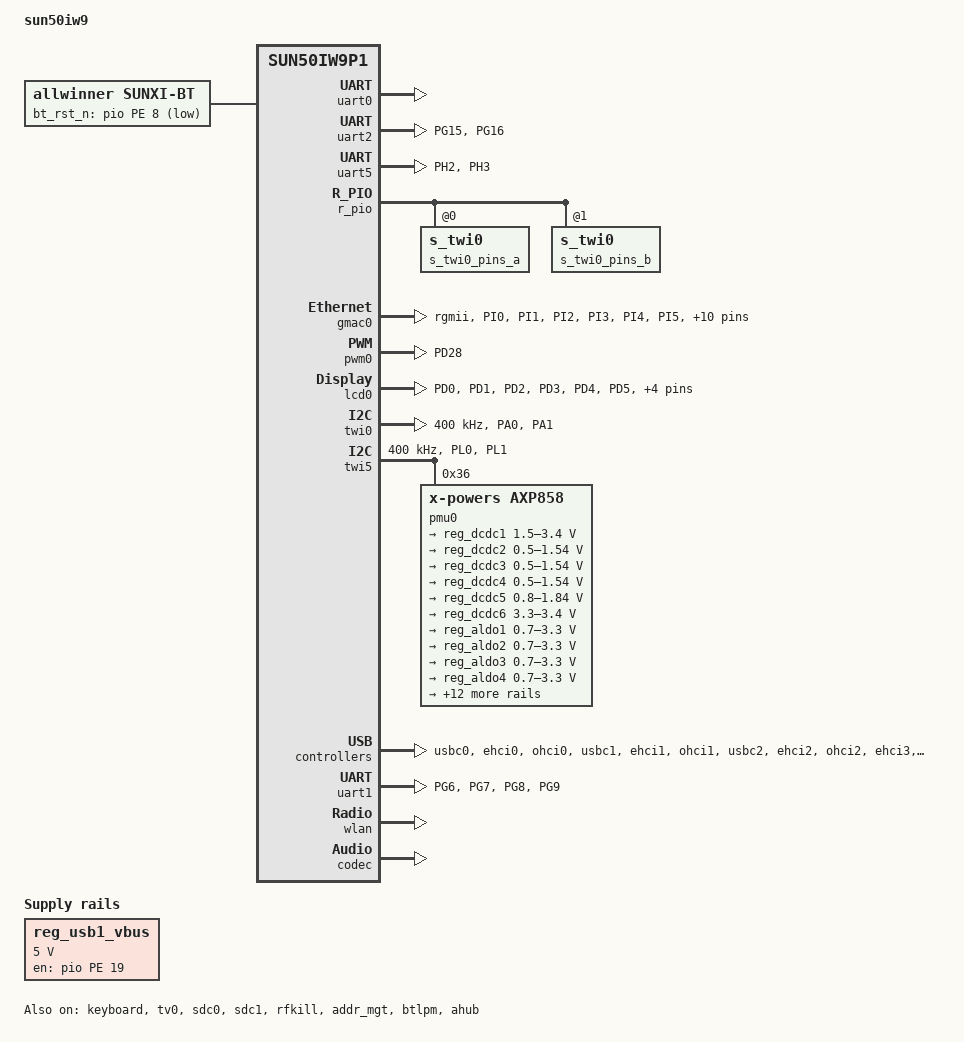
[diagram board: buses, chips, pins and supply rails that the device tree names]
// SPDX-License-Identifier: (GPL-2.0+ or MIT)
/*
 * Copyright (C) 2020 frank@allwinnertech.com
 */

/dts-v1/;
#include <dt-bindings/gpio/sun4i-gpio.h>

#include "sun50iw9.dtsi"

/{
	model = "sun50iw9";
	compatible = "allwinner,t507", "arm,sun50iw9p1";

	aliases {
		serial0 = &uart0;
		disp = &disp;
		lcd0 = &lcd0;
		pmu0 = &pmu0;
		standby_param = &standby_param;
		hdmi = &hdmi;
		spi0 = &spi0;
		spi1 = &spi1;
		twi0 = &twi0;
		twi1 = &twi1;
		twi2 = &twi2;
		twi3 = &twi3;
		twi4 = &twi4;
		twi5 = &twi5;
	};


	reg_usb1_vbus: usb1-vbus {
		compatible = "regulator-fixed";
		gpio = <&pio PE 19 GPIO_ACTIVE_HIGH>;
		regulator-name = "usb1-vbus";
		regulator-min-microvolt = <5000000>;
		regulator-max-microvolt = <5000000>;
		regulator-enable-ramp-delay = <1000>;
		enable-active-high;
	};

       led: led {
	  pinctrl-names = "default";
          pinctrl-0 = <&led_pe_pins>;
          status = "okay";
        };
};

&cpu0 {
	cpu-supply = <&reg_dcdc2>;
};

&uart0 {
	pinctrl-names = "default", "sleep";
	pinctrl-0 = <&uart0_ph_pins>;
	pinctrl-1 = <&uart0_ph_sleep>;
	status = "okay";
};

&uart2 {
        pinctrl-names = "default", "sleep";
        pinctrl-0 = <&uart2_ph_pins>;
        pinctrl-1 = <&uart2_ph_sleep>;
        status = "okay";
};


&uart5 {
        pinctrl-names = "default", "sleep";
        pinctrl-0 = <&uart5_ph_pins>;
        pinctrl-1 = <&uart5_ph_sleep>;
        status = "okay";
};



&pio {
	sdc0_pins_a: sdc0@0 {
		allwinner,pins = "PF0", "PF1", "PF2",
				 "PF3", "PF4", "PF5";
		allwinner,function = "sdc0";
		allwinner,muxsel = <2>;
		allwinner,drive = <3>;
		allwinner,pull = <1>;
	};

	sdc2_pins_a: sdc2@0 {
		allwinner,pins = "PC1", "PC5", "PC6",
				 "PC8", "PC9", "PC10", "PC11",
				 "PC13", "PC14", "PC15", "PC16";
		allwinner,function = "sdc2";
		allwinner,muxsel = <3>;
		allwinner,drive = <3>;
		allwinner,pull = <1>;
	};

	sdc2_pins_c: sdc2@2 {
				allwinner,pins = "PC0";
				allwinner,function = "sdc2";
				allwinner,muxsel = <3>;
				allwinner,drive = <3>;
				allwinner,pull = <2>;
	};

	spi0_pins_a: spi0@0 {
		pins = "PC0", "PC2", "PC4", "PC15", "PC16";     /*CLK  MOSI  MISO WP  HOLD*/
		function = "spi0";
		muxsel = <4>;
		drive-strength = <10>;
	};

	spi0_pins_b: spi0@1 {
		pins = "PC3", "PC7";    /*CS0  CS1*/
		function = "spi0";
		muxsel = <4>;
		drive-strength = <10>;
		bias-pull-up;   /* only CS should be pulled up */
	};

	spi0_pins_c: spi0@2 {
		pins = "PC0", "PC2", "PC3", "PC4", "PC7", "PC15", "PC16";
		function = "gpio_in";
		muxsel = <0>;
		drive-strength = <10>;
	};

	spi1_pins_a: spi1@0 {
		pins = "PH6", "PH7", "PH8";     /*CLK  MOSI  MISO*/
		function = "spi1";
		muxsel = <4>;
		drive-strength = <10>;
	};

	spi1_pins_b: spi1@1 {
		pins = "PH5", "PH9";    /*CS0  CS1*/
		function = "spi1";
		muxsel = <4>;
		drive-strength = <10>;
		bias-pull-up;   /* only CS should be pulled up */
	};

	spi1_pins_c: spi1@2 {
		pins = "PH5", "PH6", "PH7", "PH8", "PH9";       /*CS0  CS1*/
		function = "gpio_in";
		muxsel = <0>;
		drive-strength = <10>;
	};

	gmac0_pins_a: gmac0@0 {
		pins = "PI0", "PI1", "PI2", "PI3",
			"PI4", "PI5", "PI7", "PI8",
			"PI9", "PI10", "PI11", "PI12",
			"PI13", "PI14", "PI15",
			"PI16";
		function = "emac0";
		drive-strength = <40>;
		bias-pull-up;
	};

	gmac0_pins_b: gmac0@1 {
		pins = "PI0", "PI1", "PI2", "PI3",
			"PI4", "PI5", "PI7",
			"PI8", "PI9", "PI10", "PI11",
			"PI12", "PI13", "PI14", "PI15",
			"PI16";
		function = "gpio_in";
		drive-strength = <40>;
	};

	gmac1_pins_a: gmac1@0 {
		pins = "PA0", "PA1", "PA2", "PA3",
			"PA4", "PA5", "PA6", "PA7",
			"PA8", "PA9";
		function = "gmac1";
		drive-strength = <10>;
		bias-pull-up;
	};

	gmac1_pins_b: gmac1@1 {
		pins = "PA0", "PA1", "PA2", "PA3",
			"PA4", "PA5", "PA6", "PA7",
			"PA8", "PA9";
		function = "gpio_in";
		drive-strength = <10>;
	};

	twi0_pins_a: twi0@0 {
		pins = "PA0", "PA1";
		function = "twi0";
		muxsel = <4>;
		drive-strength = <10>;
	};

	twi0_pins_b: twi0@1 {
		pins = "PA0", "PA1";
		function = "gpio_in";
		muxsel = <0>;
	};

	twi1_pins_a: twi1@0 {
		pins = "PI7", "PI8";
		function = "twi1";
		muxsel = <5>;
		drive-strength = <10>;
		allwinner,pull = <1>;
	};

	twi1_pins_b: twi1@1 {
		pins = "PI7", "PI8";
		function = "gpio_in";
		muxsel = <0>;
	};

	twi2_pins_a: twi2@0 {
		pins = "PE20", "PE21";
		function = "twi2";
		muxsel = <5>;
		drive-strength = <10>;
		allwinner,pull = <1>;
	};

	twi2_pins_b: twi2@1 {
		pins = "PE20", "PE21";
		function = "gpio_in";
		muxsel = <0>;
	};

	twi3_pins_a: twi3@0 {
		pins = "PA10", "PA11";
		function = "twi3";
		muxsel = <2>;
		drive-strength = <10>;
		allwinner,pull = <1>;
	};

	twi3_pins_b: twi3@1 {
		pins = "PA10", "PA11";
		function = "gpio_in";
		muxsel = <0>;
	};

	twi4_pins_a: twi4@0 {
		pins = "PG15", "PG16";
		function = "twi4";
		muxsel = <5>;
		drive-strength = <10>;
	};

	twi4_pins_b: twi4@0 {
		pins = "PG15", "PG16";
		function = "gpio_in";
		muxsel = <0>;
	};


        led_pe_pins: led_pe_pins {
                pins = "PE3", "PE0","PE20";
                function = "gpio_out";
                muxsel = <0>;
        };

        

	pwm0_pin_a: pwm0@0 {
		pins = "PD28";
		function = "pwm0";
		muxsel = <2>;
		drive-strength = <10>;
		bias-pull-up;
	};

	pwm0_pin_b: pwm0@1 {
		pins = "PD28";
		muxsel = <7>;
		function = "gpio_in";
	};

	clk_losc_pins_a: clk_losc@0 {
		allwinner,pins = "PG10";
		allwinner,function = "x32kfout";
		allwinner,muxsel = <3>;
		allwinner,drive = <2>;
		allwinner,pull = <1>;
	};

	uart1_pg_pins: uart1-ph-pins {
		pins = "PG6", "PG7", "PG8", "PG9";
		function = "uart1";
	};

	uart1_pg_sleep: uart1-ph-sleep {
		pins = "PG6", "PG7", "PG8", "PG9";
		function = "gpio_in";
	};


        uart2_ph_pins: uart2-ph-pins {
                pins = "PG15", "PG16";
                function = "uart2";
               };

        uart2_ph_sleep: uart2-ph-sleep {
                pins = "PG15", "PG16";
                function = "gpio_in";
             };

        uart5_ph_pins: uart5-ph-pins {
                pins = "PH2", "PH3";
                function = "uart5";
               };

        uart5_ph_sleep: uart5-ph-sleep {
                pins = "PH2", "PH3";
                function = "gpio_in";
             };



        spdif_pins_a: spdif@0 {
                pins = "PH4";   /* spdif out */
		function = "spdif";
		drive-strength = <20>;
		bias-disable;
        };

        spdif_pins_b: spdif_sleep@0 {
		pins = "PH4";
		function = "gpio_in";
                drive-strength = <20>;
                bias-disable;
	};

	ahub_daudio0_pins_a: ahub_daudio0@0 {
		pins = "PA6", "PA7", "PA8", "PA9";
		function = "i2s0";
		drive-strength = <20>;
		bias-disable;
	};

	ahub_daudio0_pins_b: ahub_daudio0_sleep@0 {
		pins = "PA6", "PA7", "PA8", "PA9";
		function = "gpio_in";
		drive-strength = <20>;
		bias-disable;
	};

	ahub_daudio2_pins_a: ahub_daudio2@0 {
		pins = "PG11", "PG12";
		function = "i2s2";
		drive-strength = <20>;
		bias-disable;
	};

	ahub_daudio2_pins_b: ahub_daudio2@1 {
		pins = "PG13";
		function = "i2s2_dout0";
		drive-strength = <20>;
		bias-disable;
	};

	ahub_daudio2_pins_c: ahub_daudio2@2 {
		pins = "PG14";
		function = "i2s2_din0";
		drive-strength = <20>;
		bias-disable;
	};

	ahub_daudio2_pins_d: ahub_daudio2_sleep@0 {
		pins = "PG11", "PG12", "PG13", "PG14";
		function = "gpio_in";
		drive-strength = <20>;
		bias-disable;
	};

	ahub_daudio3_pins_a: ahub_daudio3@0 {
		pins = "PH5", "PH6", "PH7";
		function = "i2s3";
		drive-strength = <20>;
		bias-disable;
	};

	ahub_daudio3_pins_b: ahub_daudio3@1 {
		pins = "PH8";
		function = "i2s3_dout0";
		drive-strength = <20>;
		bias-disable;
	};

	ahub_daudio3_pins_c: ahub_daudio3@2 {
		pins = "PH9";
		function = "i2s3_din0";
		drive-strength = <20>;
		bias-disable;
	};

	ahub_daudio3_pins_d: ahub_daudio3_sleep@0 {
		pins = "PH5", "PH6", "PH7", "PH8", "PH9";
		function = "gpio_in";
		drive-strength = <20>;
		bias-disable;
	};
};

&r_pio {
	s_twi0_pins_a: s_twi0@0 {
		pins = "PL0", "PL1";
		function = "s_twi0";
		drive-strength = <10>;
		muxsel = <3>;
		bias-pull-up;
	};

	s_twi0_pins_b: s_twi0@1 {
		pins = "PL0", "PL1";
		function = "gpio_in";
		muxsel = <0>;
	};
};

&cpu_trips{
	cpu_crit: cpu_crit@0 {
		temperature = <120000>;
		type = "critical";
		hysteresis = <0>;
	};
};

&gmac0 {
	phy-mode = "rgmii";
	pinctrl-names = "default", "sleep";
	pinctrl-0 = <&gmac0_pins_a>;
	pinctrl-1 = <&gmac0_pins_b>;
	sunxi,phy-clk-type = <0>;
	tx-delay = <7>;
	rx-delay = <0>;
	gmac-power0-supply = <&reg_cldo3>;
	gmac-power1-supply;
	gmac-power2-supply;
	/*gmac-power1-supply = <&reg_dcdc6>;*/
	gmac-power0-vol = <3300000>;
	gmac-power1-vol;
	gmac-power2-vol;
	status = "okay";
};

&soc {
	card0_boot_para@2 {
		/* Avoid dtc compiling warnings. */
		reg = <0x0 0x2 0x0 0x0>;
		device_type = "card0_boot_para";
		card_ctrl = <0x0>;
		card_high_speed = <0x1>;
		card_line = <0x4>;
		pinctrl-0 = <&sdc0_pins_a>;
	};

	card2_boot_para@3 {
		/* Avoid dtc compiling warnings. */
		reg = <0x0 0x3 0x0 0x0>;
		device_type = "card2_boot_para";
		card_ctrl = <0x2>;
		card_high_speed = <0x1>;
		card_line = <0x8>;
		pinctrl-0 = <&sdc2_pins_a &sdc2_pins_c>;
		sdc_ex_dly_used = <0x2>;
		sdc_io_1v8 = <0x0>;
		sdc_type = "tm4";
	};

	clk_pll_video2: pll_video2 {
		#clock-cells = <0>;
		compatible = "allwinner,pll-clock";
		lock-mode = "new";
		assigned-clocks = <&clk_pll_video2>;
		/*assigned-clock-rates = <432000000>;*/
		clock-output-names = "pll_video2";
	};

	clk_pll_de: pll_de {
		#clock-cells = <0>;
		compatible = "allwinner,pll-clock";
		assigned-clocks = <&clk_pll_de>;
		assigned-clock-rates = <696000000>;
		lock-mode = "new";
		clock-output-names = "pll_de";
	};

	clk_de: de {
		#clock-cells = <0>;
		compatible = "allwinner,periph-clock";
		assigned-clock-parents = <&clk_pll_de>;
		assigned-clock-rates = <696000000>;
		assigned-clocks = <&clk_de>;
		clock-output-names = "de";
	};

	clk_display_top: display_top {
		#clock-cells = <0>;
		compatible = "allwinner,periph-clock";
		clock-output-names = "display_top";
	};

	clk_tcon_lcd: tcon_lcd {
		#clock-cells = <0>;
		compatible = "allwinner,periph-clock";
		clock-output-names = "tcon_lcd";
	};

	clk_tcon_lcd1: tcon_lcd1 {
		#clock-cells = <0>;
		compatible = "allwinner,periph-clock";
		clock-output-names = "tcon_lcd1";
	};
	clk_tcon_tv: tcon_tv {
		#clock-cells = <0>;
		compatible = "allwinner,periph-clock";
		assigned-clock-parents = <&clk_pll_video2>;
		assigned-clocks = <&clk_tcon_tv>;
		clock-output-names = "tcon_tv";
	};
	clk_tcon_tv1: tcon_tv1 {
		#clock-cells = <0>;
		compatible = "allwinner,periph-clock";
		clock-output-names = "tcon_tv1";
	};
	clk_lvds: lvds {
		#clock-cells = <0>;
		compatible = "allwinner,periph-clock";
		clock-output-names = "lvds";
		assigned-clocks = <&clk_lvds>;
	};
	clk_hdmi: hdmi {
		#clock-cells = <0>;
		compatible = "allwinner,periph-clock";
		assigned-clock-parents = <&clk_pll_video2>;
		assigned-clocks = <&clk_hdmi>;
		clock-output-names = "hdmi";
	};
	clk_hdmi_slow: hdmi_slow {
		#clock-cells = <0>;
		compatible = "allwinner,periph-clock";
		assigned-clocks = <&clk_hdmi_slow>;
		clock-output-names = "hdmi_slow";
	};
	clk_hdmi_cec: hdmi_cec {
		#clock-cells = <0>;
		compatible = "allwinner,periph-clock";
		assigned-clocks = <&clk_hdmi_cec>;
		clock-output-names = "hdmi_cec";
	};
	clk_hdmi_hdcp: hdmi_hdcp {
		#clock-cells = <0>;
		compatible = "allwinner,periph-clock";
		assigned-clock-parents = <&clk_pll_periph1>;
		assigned-clocks = <&clk_hdmi_hdcp>;
		clock-output-names = "hdmi_hdcp";
	};
	clk_pll_periph1: pll_periph1 {
		#clock-cells = <0>;
		compatible = "allwinner,pll-clock";
		assigned-clocks = <&clk_pll_periph1>;
		assigned-clock-rates = <600000000>;
		lock-mode = "new";
		clock-output-names = "pll_periph1";
	};

	auto_print@54321 {
		reg = <0x0 0x54321 0x0 0x0>;
		device_type = "auto_print";
		status = "disabled";
	};

	vind0:vind@6600800 {
		csi_top = <324000000>;
		status = "okay";

		csi_cci0:cci@6614000 {
			status = "disabled";
		};
		csi_cci1:cci@6614400 {
			status = "disabled";
		};
		actuator0:actuator@6614890 {
			device_type = "actuator0";
			actuator0_name = "ad5820_act";
			actuator0_slave = <0x18>;
			actuator0_af_pwdn = <>;
			actuator0_afvdd = "afvcc-csi";
			actuator0_afvdd_vol = <2800000>;
			status = "disabled";
		};
		flash0:flash@66148a0 {
			device_type = "flash0";
			flash0_type = <2>;
			flash0_en = <>;
			flash0_mode = <>;
			flash0_flvdd = "";
			flash0_flvdd_vol = <>;
			device_id = <0>;
			status = "disabled";
		};
		vinc0:vinc@6609000 {
			vinc0_csi_sel = <0>;
			vinc0_mipi_sel = <0>;
			vinc0_isp_sel = <0>;
			vinc0_isp_tx_ch = <0>;
			vinc0_rear_sensor_sel = <0>;
			vinc0_front_sensor_sel = <0>;
			vinc0_sensor_list = <0>;
			status = "okay";
		};
		vinc1:vinc@6609200 {
			vinc1_csi_sel = <0>;
			vinc1_mipi_sel = <0>;
			vinc1_isp_sel = <0>;
			vinc1_isp_tx_ch = <1>;
			vinc1_rear_sensor_sel = <0>;
			vinc1_front_sensor_sel = <0>;
			vinc1_sensor_list = <0>;
			status = "okay";
		};
		vinc2:vinc@6609400 {
			vinc2_csi_sel = <1>;
			vinc2_mipi_sel = <0xff>;
			vinc2_isp_sel = <1>;
			vinc2_isp_tx_ch = <0>;
			vinc2_rear_sensor_sel = <1>;
			vinc2_front_sensor_sel = <1>;
			vinc2_sensor_list = <0>;
			status = "okay";
		};
		vinc3:vinc@6609600 {
			vinc3_csi_sel = <1>;
			vinc3_mipi_sel = <0xff>;
			vinc3_isp_sel = <1>;
			vinc3_isp_tx_ch = <1>;
			vinc3_rear_sensor_sel = <1>;
			vinc3_front_sensor_sel = <1>;
			vinc3_sensor_list = <0>;
			status = "okay";
		};
		vinc4:vinc@6609800 {
			vinc4_csi_sel = <1>;
			vinc4_mipi_sel = <0xff>;
			vinc4_isp_sel = <1>;
			vinc4_isp_tx_ch = <2>;
			vinc4_rear_sensor_sel = <1>;
			vinc4_front_sensor_sel = <1>;
			vinc4_sensor_list = <0>;
			status = "okay";
		};
		vinc5:vinc@6609A00 {
			vinc5_csi_sel = <1>;
			vinc5_mipi_sel = <0xff>;
			vinc5_isp_sel = <1>;
			vinc5_isp_tx_ch = <3>;
			vinc5_rear_sensor_sel = <1>;
			vinc5_front_sensor_sel = <1>;
			vinc5_sensor_list = <0>;
			status = "okay";
		};
	};

	/* audio dirver module -> external codec */
	td100_audio:td100_audio {
		#sound-dai-cells = <0>;
		compatible		= "Allwinnertech,td100_audio";
		status			= "disabled";
	};

	car_reverse:car-reverse {
		compatible  = "allwinner,sunxi-car-reverse";
		tvd_id  = <0x2>;
		screen_width = <1280>;
		screen_height = <800>;
		rotation = <0x0>;
		source = <0x1>;
		oview = <0x0>;
		oview_type = <0x4>;
		td104_used = <0x0>;
		reverse_pin = <&pio PI 15 6 0 1 0>;
		status      = "disabled";
	};
};

&keyboard {
	key_cnt = <5>;
	key0 = <212 115>;
	key1 = <409 114>;
	key2 = <592 139>;
	key3 = <745 28>;
	key4 = <882 172>;
	wakeup-source;
	status = "okay";
};

&pwm0 {
	pinctrl-names = "active", "sleep";
	pinctrl-0 = <&pwm0_pin_a>;
	pinctrl-1 = <&pwm0_pin_b>;
};

&gpadc {
	channel_num = <4>;
	channel_select = <1>;
	channel_data_select = <0>;
	channel_compare_select = <1>;
	channel_cld_select = <1>;
	channel_chd_select = <0>;
	channel0_compare_lowdata = <1700000>;
	channel0_compare_higdata = <1200000>;
	channel1_compare_lowdata = <460000>;
	channel1_compare_higdata = <1200000>;
	status = "disabled";
};

&spi0 {
	clock-frequency = <100000000>;
	pinctrl-names = "default", "sleep";
	pinctrl-0 = <&spi0_pins_a &spi0_pins_b>;
	pinctrl-1 = <&spi0_pins_c>;
	spi_slave_mode = <0>;
	status = "disabled";
};

&spi1 {
	clock-frequency = <100000000>;
	pinctrl-names = "default", "sleep";
	pinctrl-0 = <&spi1_pins_a &spi1_pins_b>;
	pinctrl-1 = <&spi1_pins_c>;
	spi_slave_mode = <0>;
	status = "disabled";
};

&drm {
	boot_disp = <0>;
	boot_fb0 = "";

	//connector0_output_type = <3>;
	//connector0_output_mode = "CEA-016-1920x1080";
	connector0_output_type = <1>;
	connector0_output_mode = "";

	connector1_output_type = <0>;
	connector1_output_mode = "";
};

&disp {
	disp_init_enable         = <1>;
	disp_mode                = <0>;

	screen0_output_type      = <1>;
	screen0_output_mode      = <4>;
	screen0_output_format    = <0>;
	screen0_output_bits      = <0>;
	screen0_output_eotf      = <4>;
	screen0_output_cs        = <257>;
	screen0_output_dvi_hdmi  = <2>;
	screen0_output_range     = <2>;
	screen0_output_scan      = <0>;
	screen0_output_aspect_ratio = <8>;

	screen1_output_type      = <1>;
	screen1_output_mode      = <4>;
	screen1_output_format    = <1>;
	screen1_output_bits      = <0>;
	screen1_output_eotf      = <4>;
	screen1_output_cs        = <257>;
	screen1_output_dvi_hdmi  = <2>;
	screen1_output_range     = <2>;
	screen1_output_scan      = <0>;
	screen1_output_aspect_ratio = <8>;
	dev0_output_type         = <1>;
	dev0_output_mode         = <4>;
	dev0_screen_id           = <0>;
	dev0_do_hpd              = <0>;

	dev1_output_type         = <1>;
	dev1_output_mode         = <4>;
	dev1_screen_id           = <1>;
	dev1_do_hpd              = <1>;

	def_output_dev           = <0>;
	hdmi_mode_check          = <1>;

	fb0_format               = <0>;
	fb0_width                = <1280>;
	fb0_height               = <800>;

	fb1_format               = <0>;
	fb1_width                = <0>;
	fb1_height               = <0>;

	chn_cfg_mode             = <1>;

	disp_para_zone           = <1>;

	/* VCC-LVDS and VCC-HDMI */
	bldo1-supply = <&reg_bldo1>;
	/* VCC-TV */
	cldo4-supply = <&reg_cldo4>;
};

&hdmi {
	hdmi_used = <1>;
	bldo1-supply = <&reg_bldo1>;
	hdmi_power0 = "bldo1";
	hdmi_power_cnt = <1>;
	hdmi_hdcp_enable = <1>;
	hdmi_hdcp22_enable = <1>;
	hdmi_cts_compatibility = <0>;
	hdmi_cec_support = <1>;
	hdmi_cec_super_standby = <0>;
	hdmi_skip_bootedid = <1>;

	ddc_en_io_ctrl = <0>;
	power_io_ctrl = <0>;
};

&tv0 {
	interface       = <1>;
	dac_type0       = <0>;
	dac_src0        = <0>;
	cldo4-supply    = <&reg_cldo4>;
	tv_power        = "cldo4";
	status =  "okay";
};

&lcd0 {
	lcd_used            	= <1>;

	lcd_driver_name     	= "bp101wx1";
	lcd_backlight       	= <0>;
	lcd_if              	= <3>;

	lcd_x               	= <800>;
	lcd_y               	= <1280>;
	lcd_width           	= <94>;
	lcd_height          	= <150>;
	lcd_dclk_freq       	= <72>;

	lcd_pwm_used        	= <1>;
	lcd_pwm_ch          	= <0>;
	lcd_pwm_freq        	= <50000>;
	lcd_pwm_pol         	= <1>;
	lcd_pwm_max_limit   	= <255>;

	lcd_hbp             	= <48>;
	lcd_ht              	= <920>;
	lcd_hspw            	= <24>;
	lcd_vbp             	= <12>;
	lcd_vt              	= <1304>;
	lcd_vspw            	= <2>;

	lcd_lvds_if         	= <0>;
	lcd_lvds_colordepth 	= <0>;
	lcd_lvds_clk_polarity	= <1>;
	lcd_lvds_io_polarity	= <1>;
	lcd_lvds_mode       	= <0>;
	lcd_frm             	= <0>;
	lcd_hv_clk_phase    	= <0>;
	lcd_hv_sync_polarity	= <0>;
	lcd_gamma_en        	= <0>;
	lcd_bright_curve_en 	= <0>;
	lcd_cmap_en         	= <0>;
	lcd_fsync_en        	= <0>;
	lcd_fsync_act_time  	= <1000>;
	lcd_fsync_dis_time  	= <1000>;
	lcd_fsync_pol       	= <0>;

	deu_mode            	= <0>;
	lcdgamma4iep        	= <22>;
	smart_color         	= <90>;

	lcd_pin_power = "<&reg_dcdc6>";

	lcd_power = <&reg_dcdc6>;
	pinctrl-0 = <&lvds0_pins_a>;
	pinctrl-1 = <&lvds0_pins_b>;

};

&pio{
	lvds0_pins_a: lvds0@0 {
		pins = "PD0", "PD1", "PD2", "PD3", "PD4", "PD5", "PD8", "PD9", "PD6", "PD7";
		function = "lvds0";
		drive-strength = <40>;
	};
	lvds0_pins_b: lvds0@1 {
		pins = "PD0", "PD1", "PD2", "PD3", "PD4", "PD5", "PD8", "PD9", "PD6", "PD7";
		function = "gpio_in";
	};

	rgb24_pins_a: rgb24@0 {
		pins = "PD0", "PD1", "PD2", "PD3", "PD4", "PD5", "PD6", "PD7", "PD8", "PD9", \
		"PD10", "PD11", "PD12", "PD13", "PD14", "PD15", "PD16", "PD17", "PD18", "PD19", \
		"PD20", "PD21", "PD22", "PD23", "PD24", "PD25", "PD26", "PD27";
		function = "lcd0";
		drive-strength = <40>;
	};

	rgb24_pins_b: rgb24@1 {
		pins = "PD0", "PD1", "PD2", "PD3", "PD4", "PD5", "PD6", "PD7", "PD8", "PD9", \
		"PD10", "PD11", "PD12", "PD13", "PD14", "PD15", "PD16", "PD17", "PD18", "PD19", \
		"PD20", "PD21", "PD22", "PD23", "PD24", "PD25", "PD26", "PD27";
		allwinner,pname = "PD0", "PD1", "PD2", "PD3", "PD4", "PD5", "PD6", "PD7", "PD8", "PD9", \
		"PD10", "PD11", "PD12", "PD13", "PD14", "PD15", "PD16", "PD17", "PD18", "PD19", \
		"PD20", "PD21", "PD22", "PD23", "PD24", "PD25", "PD26", "PD27";
		function = "gpio_in";
	};

};

&gpu {
	gpu_idle = <0>;
	dvfs_status = <1>;
	independent_power = <1>;
	operating-points = <
		/* KHz   uV */
		648000 960000
		600000 900000
		552000 900000
		504000 900000
		456000 900000
		420000 900000
	>;
	gpu-supply = <&reg_dcdc4>;
};

&twi0 {
	clock-frequency = <400000>;
	pinctrl-0 = <&twi0_pins_a>;
	pinctrl-1 = <&twi0_pins_b>;
	pinctrl-names = "default", "sleep";
	twi-supply = <&reg_dcdc1>;
	status = "okay";
	ctp {
		compatible = "allwinner,goodix";
		reg = <0x14>;
		device_type = "ctp";
		status = "disabled";
		ctp_twi_id = <0x0>;
		ctp_twi_addr = <0x5d>;
		ctp_screen_max_x = <0x500>;
		ctp_screen_max_y = <0x320>;
		ctp_revert_x_flag = <0x0>;
		ctp_revert_y_flag = <0x0>;
		ctp_exchange_x_y_flag = <0x0>;
		ctp_int_port = <&pio PA 4 GPIO_ACTIVE_LOW>;
		ctp_wakeup = <&pio PA 5 GPIO_ACTIVE_LOW>;
		ctp-supply = <&reg_dcdc1>;
		ctp_power_ldo_vol = <3300>;
	};
};

&twi1 {
	clock-frequency = <400000>;
	pinctrl-0 = <&twi1_pins_a>;
	pinctrl-1 = <&twi1_pins_b>;
	twi-supply = <&reg_cldo3>;
	pinctrl-names = "default", "sleep";
	twi_drv_used = <1>;
	status = "disabled";
};

&twi2 {
	clock-frequency = <400000>;
	pinctrl-0 = <&twi2_pins_a>;
	pinctrl-1 = <&twi2_pins_b>;
	twi-supply = <&reg_dcdc1>;
	pinctrl-names = "default", "sleep";
	status = "disabled";
};

&twi3 {
	clock-frequency = <400000>;
	pinctrl-0 = <&twi3_pins_a>;
	pinctrl-1 = <&twi3_pins_b>;
	pinctrl-names = "default", "sleep";
	twi-supply = <&reg_dcdc1>;
	status = "disabled";
	ac107: ac107@36 {
		#sound-dai-cells	= <0>;
		compatible		= "Allwinnertech,ac107_0";
		gpio-reset		= "null";
		reg			= <0x36>;
		status			= "disabled";
	};
};

&twi4 {
	clock-frequency = <400000>;
	pinctrl-0 = <&twi4_pins_a>;
	pinctrl-1 = <&twi4_pins_b>;
	twi-supply = <&reg_cldo2>;
	pinctrl-names = "default", "sleep";
	status = "disabled";
};

&twi5 {
	clock-frequency = <400000>;
	pinctrl-0 = <&s_twi0_pins_a>;
	pinctrl-1 = <&s_twi0_pins_b>;
	pinctrl-names = "default", "sleep";
	no_suspend = <1>;
	status = "okay";

	pmu0: pmu@36{
		compatible = "x-powers,axp858";
		reg = <0x36>;
		interrupt-parent = <&nmi_intc>;
		interrupts = <0 IRQ_TYPE_LEVEL_LOW>;
		interrupt-controller;
		#interrupt-cells = <1>;

		wakeup-source;

		powerkey0: powerkey@0{
			status = "okay";
			compatible = "x-powers,axp2101-pek";
			pmu_powkey_off_time = <6000>;
			pmu_powkey_off_func = <0>;
			pmu_powkey_off_en = <1>;
			pmu_powkey_long_time = <1500>;
			pmu_powkey_on_time = <1000>;
			wakeup_rising;
			wakeup_falling;
		};

		standby_param: standby_param {
			vcc-io = <0x1>;
			vdd-cpua = <0x2>;
			vdd-sys = <0x4>;
			vdd-res1 = <0x40>;
			vcc-pll = <0x80>;
		};

		regulator0: regulators{
			reg_dcdc1: dcdc1 {
				regulator-name = "axp858-dcdc1";
				regulator-min-microvolt = <1500000>;
				regulator-max-microvolt = <3400000>;
				regulator-step-delay-us = <25>;
				regulator-final-delay-us = <50>;
				regulator-always-on;
			};

			reg_dcdc2: dcdc2 {
				regulator-name = "axp858-dcdc2";
				regulator-min-microvolt = <500000>;
				regulator-max-microvolt = <1540000>;
				regulator-step-delay-us = <25>;
				regulator-final-delay-us = <50>;
				regulator-ramp-delay = <6001>;
				regulator-always-on;
			};

			reg_dcdc3: dcdc3 {
				regulator-name = "axp858-dcdc3";
				regulator-min-microvolt = <500000>;
				regulator-max-microvolt = <1540000>;
				regulator-step-delay-us = <25>;
				regulator-final-delay-us = <50>;
				regulator-always-on;
			};

			reg_dcdc4: dcdc4 {
				regulator-name = "axp858-dcdc4";
				regulator-min-microvolt = <500000>;
				regulator-max-microvolt = <1540000>;
				regulator-step-delay-us = <25>;
				regulator-final-delay-us = <50>;
				regulator-enable-ramp-delay = <1000>;
			};

			reg_dcdc5: dcdc5 {
				regulator-name = "axp858-dcdc5";
				regulator-min-microvolt = <800000>;
				regulator-max-microvolt = <1840000>;
				regulator-step-delay-us = <25>;
				regulator-final-delay-us = <50>;
				regulator-always-on;
			};

			reg_dcdc6: dcdc6 {
				regulator-name = "axp858-dcdc6";
				regulator-min-microvolt = <3300000>;
				regulator-max-microvolt = <3400000>;
				regulator-step-delay-us = <25>;
				regulator-final-delay-us = <50>;
				regulator-always-on;
			};

			reg_aldo1: aldo1 {
				regulator-name = "axp858-aldo1";
				regulator-min-microvolt = <700000>;
				regulator-max-microvolt = <3300000>;
				regulator-step-delay-us = <25>;
				regulator-final-delay-us = <50>;
				regulator-always-on;
			};

			reg_aldo2: aldo2 {
				regulator-name = "axp858-aldo2";
				regulator-min-microvolt = <700000>;
				regulator-max-microvolt = <3300000>;
				regulator-step-delay-us = <25>;
				regulator-final-delay-us = <50>;
				regulator-always-on;
			};

			reg_aldo3: aldo3 {
				regulator-name = "axp858-aldo3";
				regulator-min-microvolt = <700000>;
				regulator-max-microvolt = <3300000>;
				regulator-step-delay-us = <25>;
				regulator-final-delay-us = <50>;
			};

			reg_aldo4: aldo4 {
				regulator-name = "axp858-aldo4";
				regulator-min-microvolt = <700000>;
				regulator-max-microvolt = <3300000>;
				regulator-step-delay-us = <25>;
				regulator-final-delay-us = <50>;
				regulator-always-on;
			};

			reg_aldo5: aldo5 {
				regulator-name = "axp858-aldo5";
				regulator-min-microvolt = <1200000>;
				regulator-max-microvolt = <1200000>;
				regulator-step-delay-us = <25>;
				regulator-final-delay-us = <50>;
			};

			reg_bldo1: bldo1 {
				regulator-name = "axp858-bldo1";
				regulator-min-microvolt = <700000>;
				regulator-max-microvolt = <3300000>;
				regulator-step-delay-us = <25>;
				regulator-final-delay-us = <50>;
				regulator-always-on;
			};

			reg_bldo2: bldo2 {
				regulator-name = "axp858-bldo2";
				regulator-min-microvolt = <700000>;
				regulator-max-microvolt = <3300000>;
				regulator-step-delay-us = <25>;
				regulator-final-delay-us = <50>;
			};

			reg_bldo3: bldo3 {
				regulator-name = "axp858-bldo3";
				regulator-min-microvolt = <700000>;
				regulator-max-microvolt = <3300000>;
				regulator-step-delay-us = <25>;
				regulator-final-delay-us = <50>;
			};

			reg_bldo4: bldo4 {
				regulator-name = "axp858-bldo4";
				regulator-min-microvolt = <700000>;
				regulator-max-microvolt = <1800000>;
				regulator-step-delay-us = <25>;
				regulator-final-delay-us = <50>;
				regulator-always-on;
			};

			reg_bldo5: bldo5 {
				regulator-name = "axp858-bldo5";
				regulator-min-microvolt = <700000>;
				regulator-max-microvolt = <3300000>;
				regulator-step-delay-us = <25>;
				regulator-final-delay-us = <50>;
			};

			reg_cldo1: cldo1 {
				regulator-name = "axp858-cldo1";
				regulator-min-microvolt = <700000>;
				regulator-max-microvolt = <3300000>;
				regulator-step-delay-us = <25>;
				regulator-final-delay-us = <50>;
				regulator-always-on;
			};

			reg_cldo2: cldo2 {
				regulator-name = "axp858-cldo2";
				regulator-min-microvolt = <3300000>;
				regulator-max-microvolt = <3400000>;
				regulator-step-delay-us = <25>;
				regulator-final-delay-us = <50>;
				regulator-always-on;
			};

			reg_cldo3: cldo3 {
				regulator-name = "axp858-cldo3";
				regulator-min-microvolt = <700000>;
				regulator-max-microvolt = <3300000>;
				regulator-step-delay-us = <25>;
				regulator-final-delay-us = <50>;
				regulator-always-on;
			};

			reg_cldo4: cldo4 {
				regulator-name = "axp858-cldo4";
				regulator-min-microvolt = <700000>;
				regulator-max-microvolt = <4200000>;
				regulator-step-delay-us = <25>;
				regulator-final-delay-us = <50>;
			};

			reg_cpusldo: cpusldo {
				regulator-name = "axp858-cpusldo";
				regulator-min-microvolt = <700000>;
				regulator-max-microvolt = <1400000>;
				regulator-step-delay-us = <25>;
				regulator-final-delay-us = <50>;
			};

			reg_swout: swout {
				regulator-name = "axp858-swout";
			};
		};

		virtual-dcdc1 {
			compatible = "xpower-vregulator,dcdc1";
			dcdc1-supply = <&reg_dcdc1>;
		};

		virtual-dcdc2 {
			compatible = "xpower-vregulator,dcdc2";
			dcdc2-supply = <&reg_dcdc2>;
		};

		virtual-dcdc3 {
			compatible = "xpower-vregulator,dcdc3";
			dcdc3-supply = <&reg_dcdc3>;
		};

		virtual-dcdc4 {
			compatible = "xpower-vregulator,dcdc4";
			dcdc4-supply = <&reg_dcdc4>;
		};

		virtual-dcdc5 {
			compatible = "xpower-vregulator,dcdc5";
			dcdc5-supply = <&reg_dcdc5>;
		};

		virtual-dcdc6 {
			compatible = "xpower-vregulator,dcdc6";
			dcdc6-supply = <&reg_dcdc6>;
		};

		virtual-aldo1 {
			compatible = "xpower-vregulator,aldo1";
			aldo1-supply = <&reg_aldo1>;
		};

		virtual-aldo2 {
			compatible = "xpower-vregulator,aldo2";
			aldo2-supply = <&reg_aldo2>;
		};

		virtual-aldo3 {
			compatible = "xpower-vregulator,aldo3";
			aldo3-supply = <&reg_aldo3>;
		};

		virtual-aldo4 {
			compatible = "xpower-vregulator,aldo4";
			aldo4-supply = <&reg_aldo4>;
		};

		virtual-aldo5 {
			compatible = "xpower-vregulator,aldo5";
			aldo5-supply = <&reg_aldo5>;
		};

		virtual-bldo1 {
			compatible = "xpower-vregulator,bldo1";
			bldo1-supply = <&reg_bldo1>;
		};

		virtual-bldo2 {
			compatible = "xpower-vregulator,bldo2";
			bldo2-supply = <&reg_bldo2>;
		};

		virtual-bldo3 {
			compatible = "xpower-vregulator,bldo3";
			bldo3-supply = <&reg_bldo3>;
		};

		virtual-bldo4 {
			compatible = "xpower-vregulator,bldo4";
			bldo4-supply = <&reg_bldo4>;
		};

		virtual-bldo5 {
			compatible = "xpower-vregulator,bldo5";
			bldo5-supply = <&reg_bldo5>;
		};

		virtual-cldo1 {
			compatible = "xpower-vregulator,cldo1";
			cldo1-supply = <&reg_cldo1>;
		};

		virtual-cldo2 {
			compatible = "xpower-vregulator,cldo2";
			cldo2-supply = <&reg_cldo2>;
		};

		virtual-cldo3 {
			compatible = "xpower-vregulator,cldo3";
			cldo3-supply = <&reg_cldo3>;
		};

		virtual-cldo4 {
			compatible = "xpower-vregulator,cldo4";
			cldo4-supply = <&reg_cldo4>;
		};

		virtual-cpusldo {
			compatible = "xpower-vregulator,cpusldo";
			cpusldo-supply = <&reg_cpusldo>;
		};

		virtual-swout {
			compatible = "xpower-vregulator,swout";
			swout-supply = <&reg_swout>;
		};

	};
};

&sdc2 {
        pinctrl-0 = <&sdc2_pins_a &sdc2_pins_c>;
        non-removable;
        bus-width = <8>;
        mmc-ddr-1_8v;
        mmc-hs200-1_8v;
        mmc-hs400-1_8v;
        no-sdio;
        no-sd;
        cap-mmc-highspeed;
        max-frequency = <100000000>;
        vmmc-supply = <&reg_aldo1>;
        vqmmc-supply = <&reg_dcdc1>;
        status = "disabled";
};

&sdc0 {
        pinctrl-0 = <&sdc0_pins_a>;
        bus-width = <4>;
        cd-gpios = <&pio PF 6 (GPIO_ACTIVE_LOW | GPIO_PULL_UP)>;
        cd-used-24M;
        /*non-removable;*/
        /*broken-cd;*/
        /*cd-inverted*/
        /*data3-detect;*/
        cap-sd-highspeed;
        sd-uhs-sdr50;
        sd-uhs-ddr50;
        sd-uhs-sdr104;
        no-sdio;
        no-mmc;
        sunxi-power-save-mode;
        sunxi-signal-vol-sw-without-pmu;
        /*sunxi-dis-signal-vol-sw;*/
        max-frequency = <150000000>;
        vmmc-supply = <&reg_dcdc1>;
        vqmmc33sw-supply = <&reg_dcdc1>;
        vdmmc33sw-supply = <&reg_dcdc1>;
        vqmmc18sw-supply = <&reg_aldo2>;
        vdmmc18sw-supply = <&reg_aldo2>;
        status = "okay";
};

&usbc0 {
	device_type = "usbc0";
	usb_port_type = <0x0>;
	usb_detect_type = <0x1>;
	usb_detect_mode = <0x0>;
	usb_id_gpio = <&pio PE 18 GPIO_ACTIVE_HIGH>;
	enable-active-high;
	usb_det_vbus_gpio = <&pio PE 12 GPIO_ACTIVE_HIGH>;
	enable-active-high;
	usb_regulator_io = "nocare";
	usb_wakeup_suspend = <0x0>;
	usb_luns = <0x3>;
	usb_serial_unique = <0>;
	usb_serial_number = "20080411";
	status = "okay";
};

&ehci0 {
	drvvbus-supply = <&reg_usb1_vbus>;
	status = "okay";
};

&ohci0 {
	drvvbus-supply = <&reg_usb1_vbus>;
	status = "okay";
};

&usbc1 {
	device_type = "usbc1";
	usb_regulator_io = "nocare";
	usb_wakeup_suspend = <0x0>;
	status = "okay";
};

&ehci1 {
	drvvbus-supply = <&reg_usb1_vbus>;
	status = "okay";
};

&ohci1 {
	drvvbus-supply = <&reg_usb1_vbus>;
	status = "okay";
};

&usbc2 {
	device_type = "usbc2";
	usb_regulator_io = "nocare";
	usb_wakeup_suspend = <0x0>;
	wakeup-source;
	status = "okay";
};


&ehci2 {
        drvvbus-supply = <&reg_usb1_vbus>;
        status = "okay";
};

&ohci2 {
        drvvbus-supply = <&reg_usb1_vbus>;
        status = "okay";
};

&ehci3 {
        drvvbus-supply = <&reg_usb1_vbus>;
        status = "okay";
};

&ohci3 {
        drvvbus-supply = <&reg_usb1_vbus>;
        status = "okay";
};





&usbc3 {
	device_type = "usbc3";
	usb_regulator_io = "nocare";
	usb_wakeup_suspend = <0x0>;
	status = "okay";
};


&sdc1 {
	bus-width = <4>;
	no-mmc;
	no-sd;
	cap-sd-highspeed;
	/*sd-uhs-sdr12*/
	sd-uhs-sdr25;
	sd-uhs-sdr50;
	sd-uhs-ddr50;
	sd-uhs-sdr104;
	/*sunxi-power-save-mode;*/
	/*sunxi-dis-signal-vol-sw;*/
	cap-sdio-irq;
	keep-power-in-suspend;
	ignore-pm-notify;
	max-frequency = <150000000>;
	/*vmmc-supply = <&reg_dldo1>;*/
	status = "okay";
};

&uart1 {
	pinctrl-names = "default", "sleep";
	pinctrl-0 = <&uart1_pg_pins>;
	pinctrl-1 = <&uart1_pg_sleep>;
	device_type = "uart1";
	status = "okay";
};

&rfkill {
	compatible = "allwinner,sunxi-rfkill";
	chip_en;
	power_en;
	pinctrl-0     = <&clk_losc_pins_a>;
	pinctrl-names = "default";
	status = "okay";

	/* wlan session */
	wlan {
		compatible    = "allwinner,sunxi-wlan";
		clocks        = <&rtc_ccu CLK_OSC32K_OUT>;
		clock-names   = "osc32k-out";
		wlan_power    = "axp858-dcdc6";
		wlan_io_regulator = "axp858-cldo3";
		wlan_power_vol= <3300000>;
		wlan_busnum   = <0x1>;
		wlan_regon    = <&pio PE 17 GPIO_ACTIVE_HIGH>;
		wlan_hostwake = <&pio PE 16 GPIO_ACTIVE_HIGH>;
		wakeup-source;
	};

	/* bt session */
	bt {
		compatible    = "allwinner,sunxi-bt";
		clocks        = <&rtc_ccu CLK_OSC32K_OUT>;
		clock-names   = "osc32k-out";
		bt_power      = "axp858-dcdc1";
		bt_io_regulator = "axp858-cldo2";
		/*bt_power_vol  = <3300000>; */
		bt_rst_n      = <&pio PE 8 GPIO_ACTIVE_LOW>;
	};
};

&addr_mgt {
	compatible     = "allwinner,sunxi-addr_mgt";
	type_addr_wifi = <0x0>;
	type_addr_bt   = <0x0>;
	type_addr_eth  = <0x0>;
	status         = "okay";
};

&btlpm {
	compatible  = "allwinner,sunxi-btlpm";
	uart_index  = <0x1>;
	bt_wake     = <&pio PE 7 GPIO_ACTIVE_HIGH>;
	bt_hostwake = <&pio PE 6 GPIO_ACTIVE_HIGH>;
	wakeup-source;
	status      = "okay";
};

/* audio driver adapter -> harmony ADM */
/* audio dirver module -> audio codec */
&codec {
	lineout-vol	= <31>;
	avcc-supply	= <&reg_aldo2>;
	status		= "okay";
};

/* audio dirver module -> audio hub */
&ahub {
	apb-num		= <0>;
	tdm-num		= <0>;
	tx-pin		= <0>;
	rx-pin		= <0>;
	/*pinctrl-used;
	pinctrl-names	= "default","sleep";
	pinctrl-0	= <&ahub_daudio0_pins_a>;
	pinctrl-1	= <&ahub_daudio0_pins_b>;*/
	status		= "okay";
};

/*------------------------------------------------------------------------------
&codec {
	lineout-vol		= <31>;
	ramp-en;
	ramp-time-up		= <5>;
	ramp-time-down		= <5>;
	tx-hub-en;
	status		= "okay";
};

&codec_plat {
	status		= "okay";
};

&codec_mach {
	status		= "okay";
};

&spdif_plat {
	pinctrl-used;
	pinctrl-names	= "default","sleep";
	pinctrl-0	= <&spdif_pins_a>;
	pinctrl-1	= <&spdif_pins_b>;
	tx-hub-en;
	status		= "okay";
};

&spdif_mach {
	status		= "okay";
};

&ahub_dam_plat {
	status		= "okay";
};

&ahub_dam_mach {
	status		= "okay";
};

&ahub0_plat {
	tdm-num		= <0>;
	tx-pin		= <0>;
	rx-pin		= <0>;
	status		= "okay";
};

&ahub1_plat {
	tdm-num		= <1>;
	tx-pin		= <0>;
	rx-pin		= <0>;
	dai-type	= "hdmi";
	status		= "okay";
};

&ahub2_plat {
	tdm-num		= <2>;
	tx-pin		= <0>;
	rx-pin		= <0>;
	pinctrl-used;
	pinctrl-names	= "default","sleep";
	pinctrl-0	= <&ahub_daudio2_pins_a &ahub_daudio2_pins_b &ahub_daudio2_pins_c>;
	pinctrl-1	= <&ahub_daudio2_pins_d>;
	status		= "okay";
};

&ahub3_plat {
	tdm-num		= <3>;
	tx-pin		= <0>;
	rx-pin		= <0>;
	pinctrl-used;
	pinctrl-names	= "default","sleep";
	pinctrl-0	= <&ahub_daudio3_pins_a &ahub_daudio3_pins_b &ahub_daudio3_pins_c>;
	pinctrl-1	= <&ahub_daudio3_pins_d>;
	status		= "disabled";
};

&ahub0_mach {
	soundcard-mach,format		= "i2s";
	soundcard-mach,frame-master	= <&ahub0_cpu>;
	soundcard-mach,bitclock-master	= <&ahub0_cpu>;
	soundcard-mach,slot-num		= <2>;
	soundcard-mach,slot-width	= <32>;
	soundcard-mach,capture-only;
	status				= "okay";
	ahub0_cpu: soundcard-mach,cpu {
		sound-dai		= <&ahub0_plat>;
		soundcard-mach,pll-fs	= <4>;
		soundcard-mach,mclk-fs	= <1>;
		soundcard-mach,mclk-fp;
	};
        ahub0_codec: soundcard-mach,codec {
		sound-dai		= <&ac107>;
		soundcard-mach,pll-fs	= <1>;
	};
};

&ahub1_mach {
	soundcard-mach,format		= "i2s";
	soundcard-mach,frame-master	= <&ahub1_cpu>;
	soundcard-mach,bitclock-master	= <&ahub1_cpu>;
	soundcard-mach,slot-num		= <2>;
	soundcard-mach,slot-width	= <32>;
	status				= "okay";
	ahub1_cpu: soundcard-mach,cpu {
		sound-dai		= <&ahub1_plat>;
		soundcard-mach,pll-fs	= <4>;
		soundcard-mach,mclk-fs	= <0>;
	};
	ahub1_codec: soundcard-mach,codec {
	};
};

&ahub2_mach {
	soundcard-mach,format		= "i2s";
	soundcard-mach,frame-master	= <&ahub2_cpu>;
	soundcard-mach,bitclock-master	= <&ahub2_cpu>;
	soundcard-mach,slot-num		= <2>;
	soundcard-mach,slot-width	= <32>;
	status				= "okay";
	ahub2_cpu: soundcard-mach,cpu {
		sound-dai		= <&ahub2_plat>;
		soundcard-mach,pll-fs	= <4>;
		soundcard-mach,mclk-fs	= <256>;
	};
	ahub2_codec: soundcard-mach,codec {
	};
};

&ahub3_mach {
	soundcard-mach,format		= "i2s";
	soundcard-mach,frame-master	= <&ahub3_cpu>;
	soundcard-mach,bitclock-master	= <&ahub3_cpu>;
	soundcard-mach,slot-num		= <2>;
	soundcard-mach,slot-width	= <32>;
	status				= "disabled";
	ahub3_cpu: soundcard-mach,cpu {
		sound-dai		= <&ahub3_plat>;
		soundcard-mach,pll-fs	= <4>;
		soundcard-mach,mclk-fs	= <256>;
	};
	ahub3_codec: soundcard-mach,codec {
	};
};
------------------------------------------------------------------------------*/

